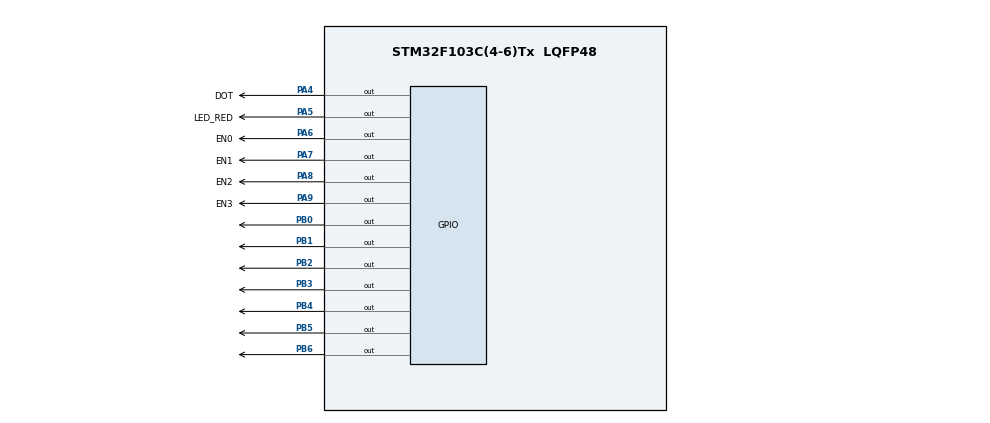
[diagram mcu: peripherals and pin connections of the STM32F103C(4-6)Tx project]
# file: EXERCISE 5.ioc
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Mcu.Family=STM32F1
Mcu.Name=STM32F103C(4-6)Tx
Mcu.Package=LQFP48
NVIC.PriorityGroup=NVIC_PRIORITYGROUP_4
NVIC.TIM2_IRQn=true\:0\:0\:false\:false\:true\:true\:true
PA4.GPIO_Label=DOT
PA4.Signal=GPIO_Output
PA5.GPIO_Label=LED_RED
PA5.Signal=GPIO_Output
PA6.GPIO_Label=EN0
PA6.Signal=GPIO_Output
PA7.GPIO_Label=EN1
PA7.Signal=GPIO_Output
PA8.GPIO_Label=EN2
PA8.Signal=GPIO_Output
PA9.GPIO_Label=EN3
PA9.Signal=GPIO_Output
PB0.Signal=GPIO_Output
PB1.Signal=GPIO_Output
PB2.Signal=GPIO_Output
PB3.Signal=GPIO_Output
PB4.Signal=GPIO_Output
PB5.Signal=GPIO_Output
PB6.Signal=GPIO_Output
ProjectManager.HeapSize=0x200
ProjectManager.StackSize=0x400
ProjectManager.TargetToolchain=STM32CubeIDE
RCC.APB1Freq_Value=8000000
RCC.APB2Freq_Value=8000000
TIM2.Period=9
TIM2.Prescaler=7999
VP_SYS_VS_ND.Mode=No_Debug
VP_TIM2_VS_ClockSourceINT.Mode=Internal
board=custom

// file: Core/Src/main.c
/* USER CODE BEGIN Header */
/**
  ******************************************************************************
  * @file           : main.c
  * @brief          : Main program body
  ******************************************************************************
  * @attention
  *
  * <h2><center>&copy; Copyright (c) 2023 STMicroelectronics.
  * All rights reserved.</center></h2>
  *
  * This software component is licensed by ST under BSD 3-Clause license,
  * the "License"; You may not use this file except in compliance with the
  * License. You may obtain a copy of the License at:
  *                        opensource.org/licenses/BSD-3-Clause
  *
  ******************************************************************************
  */
/* USER CODE END Header */
#include "main.h"
#include "software_timer.h"

TIM_HandleTypeDef htim2;

void SystemClock_Config(void);
static void MX_GPIO_Init(void);
static void MX_TIM2_Init(void);

int main(void)
{

  /* MCU Configuration--------------------------------------------------------*/

  /* Reset of all peripherals, Initializes the Flash interface and the Systick. */
  HAL_Init();

  /* Configure the system clock */
  SystemClock_Config();

  /* Initialize all configured peripherals */
  MX_GPIO_Init();
  MX_TIM2_Init();
  /* USER CODE BEGIN 2 */
  HAL_TIM_Base_Start_IT(&htim2);
  /* USER CODE END 2 */

  /* Infinite loop */
  /* USER CODE BEGIN WHILE */
  void display7SEG(int num){
  	HAL_GPIO_WritePin(GPIOB, GPIO_PIN_0 | GPIO_PIN_1 | GPIO_PIN_2 | GPIO_PIN_3 | GPIO_PIN_4 | GPIO_PIN_5 | GPIO_PIN_6, SET);
  	switch (num) {
  		case 0:
  			HAL_GPIO_WritePin(GPIOB, GPIO_PIN_0 | GPIO_PIN_1 | GPIO_PIN_2 | GPIO_PIN_3 | GPIO_PIN_4 | GPIO_PIN_5, RESET);
  			break;
  		case 1:
  			HAL_GPIO_WritePin(GPIOB, GPIO_PIN_1 | GPIO_PIN_2, RESET);
  			break;
  		case 2:
  			HAL_GPIO_WritePin(GPIOB, GPIO_PIN_0 | GPIO_PIN_1 | GPIO_PIN_3 | GPIO_PIN_4 | GPIO_PIN_6, RESET);
  			break;
  		case 3:
  			HAL_GPIO_WritePin(GPIOB, GPIO_PIN_0 | GPIO_PIN_1 | GPIO_PIN_2 | GPIO_PIN_3 | GPIO_PIN_6, RESET);
  			break;
  		case 4:
  			HAL_GPIO_WritePin(GPIOB, GPIO_PIN_1 | GPIO_PIN_2 | GPIO_PIN_5 | GPIO_PIN_6, RESET);
  			break;
  		case 5:
  			HAL_GPIO_WritePin(GPIOB, GPIO_PIN_0 | GPIO_PIN_2 | GPIO_PIN_3 | GPIO_PIN_5 | GPIO_PIN_6, RESET);
  			break;
  		case 6:
  			HAL_GPIO_WritePin(GPIOB, GPIO_PIN_0 | GPIO_PIN_2 | GPIO_PIN_3 | GPIO_PIN_4 | GPIO_PIN_5 | GPIO_PIN_6, RESET);
  			break;
  		case 7:
  			HAL_GPIO_WritePin(GPIOB, GPIO_PIN_0 | GPIO_PIN_1 | GPIO_PIN_2, RESET);
  			break;
  		case 8:
  			HAL_GPIO_WritePin(GPIOB, GPIO_PIN_0 | GPIO_PIN_1 | GPIO_PIN_2 | GPIO_PIN_3 | GPIO_PIN_4 | GPIO_PIN_5 | GPIO_PIN_6, RESET);
  			break;
  		case 9:
  			HAL_GPIO_WritePin(GPIOB, GPIO_PIN_0 | GPIO_PIN_1 | GPIO_PIN_2 | GPIO_PIN_3 | GPIO_PIN_5 | GPIO_PIN_6, RESET);
  			break;
  	}
  }

  void clear(){
  	HAL_GPIO_WritePin(LED_RED_GPIO_Port, LED_RED_Pin, SET);
  	HAL_GPIO_WritePin(GPIOA, DOT_Pin, SET);
  	HAL_GPIO_WritePin(GPIOA, EN0_Pin | EN1_Pin | EN2_Pin | EN3_Pin , SET);
  	HAL_GPIO_WritePin(GPIOB, GPIO_PIN_All, SET);
  }

  int led_buffer[4] = {1 , 2 , 3 , 4};

  void update7SEG ( int index ) {
  	switch ( index ) {
  		case 0:
  			// Display the first 7 SEG with led_buffer [0]
  			HAL_GPIO_WritePin(GPIOA, EN1_Pin|EN2_Pin|EN3_Pin, GPIO_PIN_SET);
  			display7SEG(led_buffer[0]);
  			HAL_GPIO_WritePin(GPIOA, EN0_Pin, GPIO_PIN_RESET);
  			break ;
  		case 1:
  			// Display the second 7 SEG with led_buffer [1]
  			HAL_GPIO_WritePin(GPIOA, EN0_Pin|EN2_Pin|EN3_Pin, GPIO_PIN_SET);
  			display7SEG(led_buffer[1]);
  			HAL_GPIO_WritePin(GPIOA, EN1_Pin, GPIO_PIN_RESET);
  			break ;
  		case 2:
  			// Display the third 7 SEG with led_buffer [2]
  			HAL_GPIO_WritePin(GPIOA, EN1_Pin|EN0_Pin|EN3_Pin, GPIO_PIN_SET);
  			display7SEG(led_buffer[2]);
  			HAL_GPIO_WritePin(GPIOA, EN2_Pin, GPIO_PIN_RESET);
  			break ;
  		case 3:
  			// Display the forth 7 SEG with led_buffer [3]
  			HAL_GPIO_WritePin(GPIOA, EN1_Pin|EN2_Pin|EN0_Pin, GPIO_PIN_SET);
  			display7SEG(led_buffer[3]);
  			HAL_GPIO_WritePin(GPIOA, EN3_Pin, GPIO_PIN_RESET);
  			break ;
  		default :
  			break ;
  	}
  }
  int hour = 15, minute = 8, second = 50;
  void updateClockBuffer(){
	  led_buffer[0] = hour/10;
	  led_buffer[1] = hour%10;
	  led_buffer[2] = minute/10;
	  led_buffer[3] = minute%10;
  }
  setTimer1(100);
  setTimer2(25);
  setTimer3(50);
  int index = 0;
  clear();
  while (1)
  {
    /* USER CODE END WHILE */
	  if (timer1_flag == 1){
		  setTimer1(100);
		  HAL_GPIO_TogglePin(GPIOA, LED_RED_Pin);
		  second++;
		  if(second >= 60) {
			  second = 0;
			  minute++;
		  }
		  if(minute >= 60) {
			  minute = 0;
			  hour++;
		  }
		  if(hour >= 24) {
			  hour = 0;
		  }
	  }
	  if (timer3_flag == 1){
		  setTimer3(100);
		  HAL_GPIO_TogglePin(GPIOA, DOT_Pin);
	  }
	  if (timer2_flag == 1){
		  updateClockBuffer();
		  setTimer2(25);
		  if (index == 4) index = 0;
		  update7SEG(index);
		  index = index + 1;
	  }
  }
}

void SystemClock_Config(void)
{
  RCC_OscInitTypeDef RCC_OscInitStruct = {0};
  RCC_ClkInitTypeDef RCC_ClkInitStruct = {0};

  /** Initializes the RCC Oscillators according to the specified parameters
  * in the RCC_OscInitTypeDef structure.
  */
  RCC_OscInitStruct.OscillatorType = RCC_OSCILLATORTYPE_HSI;
  RCC_OscInitStruct.HSIState = RCC_HSI_ON;
  RCC_OscInitStruct.HSICalibrationValue = RCC_HSICALIBRATION_DEFAULT;
  RCC_OscInitStruct.PLL.PLLState = RCC_PLL_NONE;
  if (HAL_RCC_OscConfig(&RCC_OscInitStruct) != HAL_OK)
  {
    Error_Handler();
  }
  /** Initializes the CPU, AHB and APB buses clocks
  */
  RCC_ClkInitStruct.ClockType = RCC_CLOCKTYPE_HCLK|RCC_CLOCKTYPE_SYSCLK
                              |RCC_CLOCKTYPE_PCLK1|RCC_CLOCKTYPE_PCLK2;
  RCC_ClkInitStruct.SYSCLKSource = RCC_SYSCLKSOURCE_HSI;
  RCC_ClkInitStruct.AHBCLKDivider = RCC_SYSCLK_DIV1;
  RCC_ClkInitStruct.APB1CLKDivider = RCC_HCLK_DIV1;
  RCC_ClkInitStruct.APB2CLKDivider = RCC_HCLK_DIV1;

  if (HAL_RCC_ClockConfig(&RCC_ClkInitStruct, FLASH_LATENCY_0) != HAL_OK)
  {
    Error_Handler();
  }
}

static void MX_TIM2_Init(void)
{

  TIM_ClockConfigTypeDef sClockSourceConfig = {0};
  TIM_MasterConfigTypeDef sMasterConfig = {0};

  htim2.Instance = TIM2;
  htim2.Init.Prescaler = 7999;
  htim2.Init.CounterMode = TIM_COUNTERMODE_UP;
  htim2.Init.Period = 9;
  htim2.Init.ClockDivision = TIM_CLOCKDIVISION_DIV1;
  htim2.Init.AutoReloadPreload = TIM_AUTORELOAD_PRELOAD_DISABLE;
  if (HAL_TIM_Base_Init(&htim2) != HAL_OK)
  {
    Error_Handler();
  }
  sClockSourceConfig.ClockSource = TIM_CLOCKSOURCE_INTERNAL;
  if (HAL_TIM_ConfigClockSource(&htim2, &sClockSourceConfig) != HAL_OK)
  {
    Error_Handler();
  }
  sMasterConfig.MasterOutputTrigger = TIM_TRGO_RESET;
  sMasterConfig.MasterSlaveMode = TIM_MASTERSLAVEMODE_DISABLE;
  if (HAL_TIMEx_MasterConfigSynchronization(&htim2, &sMasterConfig) != HAL_OK)
  {
    Error_Handler();
  }

}

static void MX_GPIO_Init(void)
{
  GPIO_InitTypeDef GPIO_InitStruct = {0};

  /* GPIO Ports Clock Enable */
  __HAL_RCC_GPIOA_CLK_ENABLE();
  __HAL_RCC_GPIOB_CLK_ENABLE();

  /*Configure GPIO pin Output Level */
  HAL_GPIO_WritePin(GPIOA, DOT_Pin|LED_RED_Pin|EN0_Pin|EN1_Pin
                          |EN2_Pin|EN3_Pin, GPIO_PIN_RESET);

  /*Configure GPIO pin Output Level */
  HAL_GPIO_WritePin(GPIOB, GPIO_PIN_0|GPIO_PIN_1|GPIO_PIN_2|GPIO_PIN_3
                          |GPIO_PIN_4|GPIO_PIN_5|GPIO_PIN_6, GPIO_PIN_RESET);

  /*Configure GPIO pins : DOT_Pin LED_RED_Pin EN0_Pin EN1_Pin
                           EN2_Pin EN3_Pin */
  GPIO_InitStruct.Pin = DOT_Pin|LED_RED_Pin|EN0_Pin|EN1_Pin
                          |EN2_Pin|EN3_Pin;
  GPIO_InitStruct.Mode = GPIO_MODE_OUTPUT_PP;
  GPIO_InitStruct.Pull = GPIO_NOPULL;
  GPIO_InitStruct.Speed = GPIO_SPEED_FREQ_LOW;
  HAL_GPIO_Init(GPIOA, &GPIO_InitStruct);

  /*Configure GPIO pins : PB0 PB1 PB2 PB3
                           PB4 PB5 PB6 */
  GPIO_InitStruct.Pin = GPIO_PIN_0|GPIO_PIN_1|GPIO_PIN_2|GPIO_PIN_3
                          |GPIO_PIN_4|GPIO_PIN_5|GPIO_PIN_6;
  GPIO_InitStruct.Mode = GPIO_MODE_OUTPUT_PP;
  GPIO_InitStruct.Pull = GPIO_NOPULL;
  GPIO_InitStruct.Speed = GPIO_SPEED_FREQ_LOW;
  HAL_GPIO_Init(GPIOB, &GPIO_InitStruct);

}

/* USER CODE BEGIN 4 */
void HAL_TIM_PeriodElapsedCallback(TIM_HandleTypeDef *htim){
	timerRun();
}
/* USER CODE END 4 */

void Error_Handler(void)
{
  __disable_irq();
  while (1)
  {
  }
}

/************************ (C) COPYRIGHT STMicroelectronics *****END OF FILE****/
